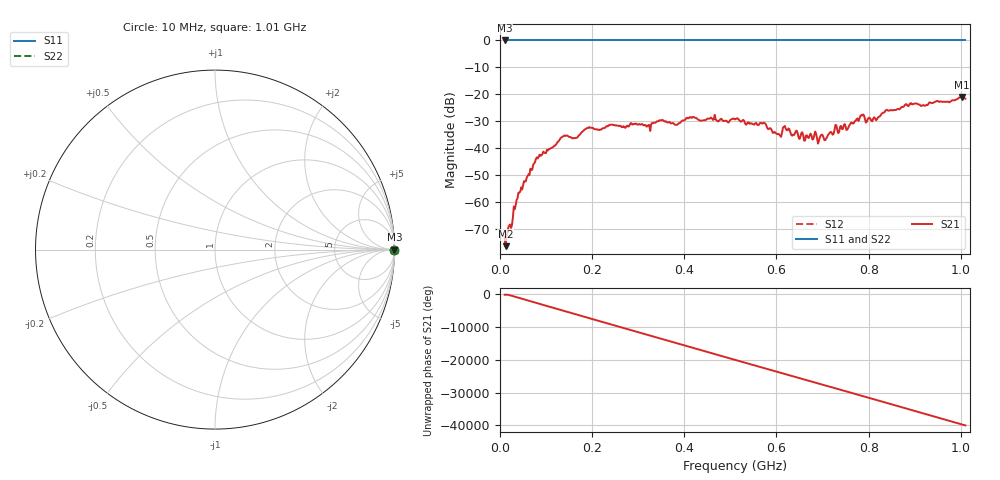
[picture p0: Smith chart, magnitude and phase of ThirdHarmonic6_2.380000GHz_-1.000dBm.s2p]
! 8/17/2025 3:47:17 AM
! C:\ANRITSUVNA\TEMP\TEMP.S2P
! CHANNEL.1
! TR.MEASUREMENT
! RAW.DATA
! RF.CORRECTION.OFF
! AVERAGING.OFF
! IF.BANDWIDTH: 5KHZ
! SWEEPTYPE:  FREQ.SWEEP(Linear)
! Reference Plane Port Info
! PORT:  PORT1  PORT2
! DISTANCE:  0  m  0  m
! TIME:  0  s  0  s
! PHASE.OFFSET:  0  deg.  0  deg.
! LOSS:  0  dB  0  dB
! REF.LOSS:  0  dB  0  dB
! REF.FREQ:  0  Hz  0  Hz
! Power Info
! POWER:  -20  dBm  -20  dBm
! EFF.POWER:  -20  dBm  -20  dBm
! SOURCE.ATTEN:  0  dB  0  dB
! TEST.ATTEN:  0  dB  0  dB
# GHZ S RI R 50.0
! FREQ.GHZ  S11RE  S11IM  S21RE  S21IM  S12RE  S12IM  S22RE  S22IM
!; PortSelection: Port_12
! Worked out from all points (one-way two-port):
!   501 points, 10 MHz to 1.01 GHz, reference 50 ohm
!   highest |S21| = -20.88 dB at 1.002 GHz (marker M1); lowest = -76.2 dB at 12 MHz (marker M2)
!   lowest |S11| = 0.0 dB at 10 MHz (marker M3)
!   |S11| at or under -10 dB: nowhere
!   |S22| runs from 0.0 to 0.0 dB; largest |S21 - S12| = 1.1
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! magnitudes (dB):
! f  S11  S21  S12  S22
! 10 MHz  0.0  -72.9  0.0  0.0
! 12 MHz  0.0  -76.2  0.0  0.0
! 24 MHz  0.0  -69.5  0.0  0.0
! 42 MHz  0.0  -56.4  0.0  0.0
! 82 MHz  0.0  -43.7  0.0  0.0
! 136 MHz  0.0  -35.6  0.0  0.0
! 178 MHz  0.0  -33.9  0.0  0.0
! 242 MHz  0.0  -31.1  0.0  0.0
! 322 MHz  0.0  -31.3  0.0  0.0
! 344 MHz  0.0  -29.9  0.0  0.0
! 510 MHz  0.0  -29.3  0.0  0.0
! 572 MHz  0.0  -30.4  0.0  0.0
! 606 MHz  0.0  -34.8  0.0  0.0
! 618 MHz  0.0  -31.7  0.0  0.0
! 636 MHz  0.0  -34.9  0.0  0.0
! 678 MHz  0.0  -36.7  0.0  0.0
! 706 MHz  0.0  -36.9  0.0  0.0
! 786 MHz  0.0  -27.8  0.0  0.0
! 812 MHz  0.0  -28.5  0.0  0.0
! 844 MHz  0.0  -26.0  0.0  0.0
! 1.002 GHz  0.0  -20.9  0.0  0.0
! 1.01 GHz  0.0  -21.6  0.0  0.0
